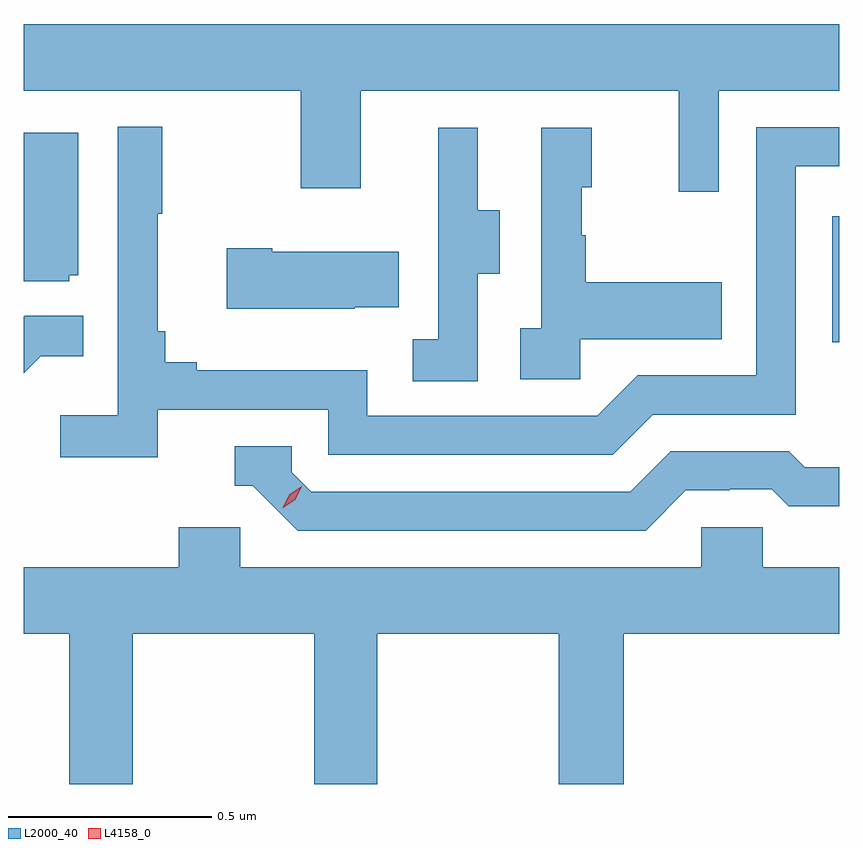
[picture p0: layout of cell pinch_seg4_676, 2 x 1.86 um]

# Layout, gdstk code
import gdstk
lib = gdstk.Library(unit=1e-6, precision=1e-09)
def R(c, l, rs):  # rectangles x0, y0, x1, y1
    for r in rs: c.add(gdstk.rectangle(r[:2], r[2:], *l))
def P(c, l, *ps):  # polygons
    for p in ps: c.add(gdstk.Polygon(p, *l))
L2000_40 = (2000, 40)
L4158_0 = (4158, 0)

pinch_seg4_676 = lib.new_cell('pinch_seg4_676')
R(pinch_seg4_676, L2000_40, [(1119.51,762.903,1119.527,763.212)])
P(pinch_seg4_676, L2000_40, [(1119.231,763.52),(1119.527,763.52),(1119.527,763.684),(1117.527,763.684),(1117.527,763.52),(1118.206,763.52),(1118.206,763.281),(1118.353,763.281),(1118.353,763.52),(1119.134,763.52),(1119.134,763.272),(1119.231,763.272)],
  [(1117.856,762.738),(1118.274,762.738),(1118.274,762.627),(1118.971,762.627),(1119.07,762.726),(1119.42,762.726),(1119.42,763.335),(1119.527,763.335),(1119.527,763.431),(1119.324,763.431),(1119.324,762.822),(1119.033,762.822),(1118.934,762.723),(1118.37,762.723),(1118.37,762.835),(1117.951,762.835),(1117.951,762.854),(1117.874,762.854),(1117.874,762.931),(1117.855,762.931),(1117.855,763.219),(1117.867,763.219),(1117.867,763.432),(1117.758,763.432),(1117.758,762.724),(1117.617,762.724),(1117.617,762.622),(1117.856,762.622)],
  [(1118.64,763.072),(1118.695,763.072),(1118.695,763.227),(1118.641,763.227),(1118.641,763.429),(1118.543,763.429),(1118.543,763.215),(1118.544,763.215),(1118.544,762.911),(1118.481,762.911),(1118.481,762.808),(1118.64,762.808)],
  [(1118.892,762.911),(1119.239,762.911),(1119.239,763.051),(1118.905,763.051),(1118.905,763.166),(1118.895,763.166),(1118.895,763.284),(1118.92,763.284),(1118.92,763.429),(1118.796,763.429),(1118.796,762.938),(1118.745,762.938),(1118.745,762.813),(1118.892,762.813)],
  [(1117.638,763.068),(1117.66,763.068),(1117.66,763.417),(1117.527,763.417),(1117.527,763.053),(1117.638,763.053)],
  [(1118.339,762.989),(1118.447,762.989),(1118.447,763.126),(1118.137,763.126),(1118.137,763.134),(1118.025,763.134),(1118.025,762.986),(1118.339,762.986)],
  [(1117.569,762.869),(1117.673,762.869),(1117.673,762.968),(1117.529,762.968),(1117.527,762.966),(1117.527,762.827)],
  [(1119.151,762.54),(1119.258,762.54),(1119.258,762.543),(1119.361,762.543),(1119.403,762.501),(1119.527,762.501),(1119.527,762.597),(1119.442,762.597),(1119.403,762.636),(1119.114,762.636),(1119.015,762.537),(1118.232,762.537),(1118.184,762.585),(1118.184,762.648),(1118.045,762.648),(1118.045,762.552),(1118.088,762.552),(1118.199,762.441),(1119.052,762.441)],
  [(1117.794,762.188),(1118.239,762.188),(1118.239,761.82),(1118.394,761.82),(1118.394,762.188),(1118.839,762.188),(1118.839,761.82),(1118.999,761.82),(1118.999,762.188),(1119.527,762.188),(1119.527,762.352),(1119.339,762.352),(1119.339,762.45),(1119.189,762.45),(1119.189,762.352),(1118.058,762.352),(1118.058,762.45),(1117.907,762.45),(1117.907,762.352),(1117.527,762.352),(1117.527,762.188),(1117.639,762.188),(1117.639,761.82),(1117.794,761.82)])
P(pinch_seg4_676, L4158_0, [(1118.162,762.497),(1118.162,762.498),(1118.178,762.53),(1118.209,762.55),(1118.209,762.55),(1118.209,762.55),(1118.193,762.517),(1118.163,762.497)])

lib.write_gds('pinch_seg4_676.gds')
